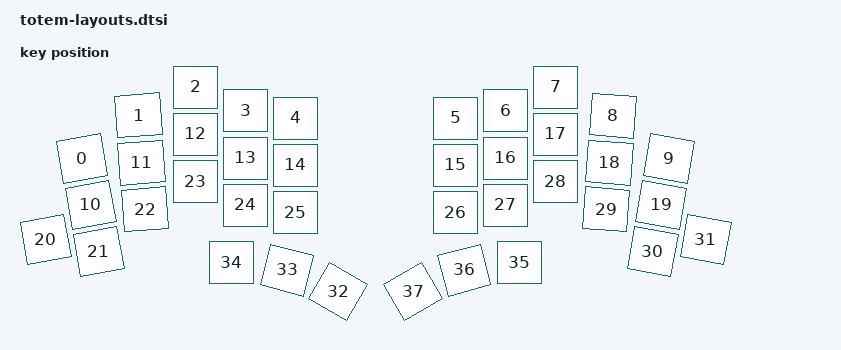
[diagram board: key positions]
/*
 * Copyright (c) 2022 The ZMK Contributors
 *
 * SPDX-License-Identifier: MIT
 */

#include <physical_layouts.dtsi>

/ {
    physical_layout0: physical_layout_0 {
        compatible = "zmk,physical-layout";
        display-name = "TOTEM";

        // Key positions derived from docs/images/TOTEM_layout.svg
        keys  //                     w      h      x      y    rot     rx     ry
            = <&key_physical_attrs     97     92     73    143 (-1000)    122    189>
            , <&key_physical_attrs     97     92    186     57 (-400)    234    103>
            , <&key_physical_attrs     97     92    300      0      0    348     46>
            , <&key_physical_attrs     97     92    400     47      0    448     93>
            , <&key_physical_attrs     97     92    500     62      0    548    108>
            , <&key_physical_attrs     97     92    820     62      0    869    108>
            , <&key_physical_attrs     97     92    920     47      0    969     93>
            , <&key_physical_attrs     97     92   1020      0      0   1069     46>
            , <&key_physical_attrs     97     92   1135     57    400   1183    103>
            , <&key_physical_attrs     97     92   1247    143   1000   1296    189>
            , <&key_physical_attrs     97     92     90    236 (-1000)    138    282>
            , <&key_physical_attrs     97     92    192    151 (-400)    241    197>
            , <&key_physical_attrs     97     92    300     94      0    348    140>
            , <&key_physical_attrs     97     92    400    142      0    448    188>
            , <&key_physical_attrs     97     92    500    156      0    548    202>
            , <&key_physical_attrs     97     92    820    156      0    869    202>
            , <&key_physical_attrs     97     92    920    142      0    969    188>
            , <&key_physical_attrs     97     92   1020     94      0   1069    140>
            , <&key_physical_attrs     97     92   1128    151    400   1176    197>
            , <&key_physical_attrs     97     92   1231    236   1000   1279    282>
            , <&key_physical_attrs     97     92      0    305 (-1000)     48    351>
            , <&key_physical_attrs     97     92    106    329 (-1000)    155    375>
            , <&key_physical_attrs     97     92    199    245 (-400)    247    291>
            , <&key_physical_attrs     97     92    300    189      0    348    235>
            , <&key_physical_attrs     97     92    400    236      0    448    282>
            , <&key_physical_attrs     97     92    500    251      0    548    297>
            , <&key_physical_attrs     97     92    820    251      0    869    297>
            , <&key_physical_attrs     97     92    920    236      0    969    282>
            , <&key_physical_attrs     97     92   1020    189      0   1069    235>
            , <&key_physical_attrs     97     92   1121    245    400   1170    291>
            , <&key_physical_attrs     97     92   1214    329   1000   1263    375>
            , <&key_physical_attrs     97     92   1320    305   1000   1369    351>
            , <&key_physical_attrs     97     92    585    409   3000    634    455>
            , <&key_physical_attrs     97     92    483    366   1500    531    412>
            , <&key_physical_attrs     97     92    372    351      0    421    397>
            , <&key_physical_attrs     97     92    948    351      0    997    397>
            , <&key_physical_attrs     97     92    837    366 (-1500)    886    412>
            , <&key_physical_attrs     97     92    735    409 (-3000)    784    455>
            ;
    };
};
